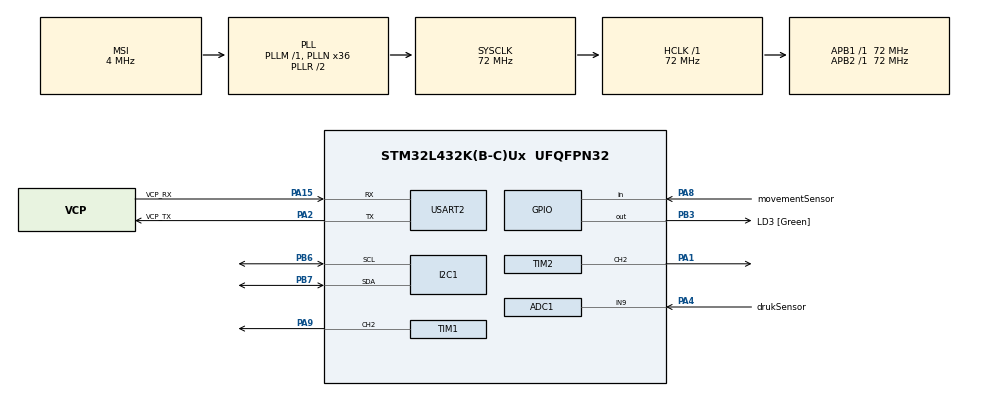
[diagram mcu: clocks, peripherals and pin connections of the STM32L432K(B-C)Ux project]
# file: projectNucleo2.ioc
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ADC1.Channel-0\#ChannelRegularConversion=ADC_CHANNEL_9
ADC1.NbrOfConversionFlag=1
ADC1.OffsetNumber-0\#ChannelRegularConversion=ADC_OFFSET_NONE
ADC1.Rank-0\#ChannelRegularConversion=1
ADC1.SamplingTime-0\#ChannelRegularConversion=ADC_SAMPLETIME_2CYCLES_5
ADC1.master=1
Dma.Request0=TIM1_CH2
Dma.TIM1_CH2.0.Direction=DMA_MEMORY_TO_PERIPH
Dma.TIM1_CH2.0.Instance=DMA1_Channel3
Dma.TIM1_CH2.0.MemDataAlignment=DMA_MDATAALIGN_HALFWORD
Dma.TIM1_CH2.0.MemInc=DMA_MINC_ENABLE
Dma.TIM1_CH2.0.Mode=DMA_NORMAL
Dma.TIM1_CH2.0.PeriphDataAlignment=DMA_PDATAALIGN_HALFWORD
Dma.TIM1_CH2.0.PeriphInc=DMA_PINC_DISABLE
Dma.TIM1_CH2.0.Priority=DMA_PRIORITY_LOW
I2C1.OwnAddress=0x20
I2C1.Timing=0x10808DD3
Mcu.Family=STM32L4
Mcu.Name=STM32L432K(B-C)Ux
Mcu.Package=UFQFPN32
NVIC.DMA1_Channel3_IRQn=true\:0\:0\:false\:false\:true\:false\:true\:true
NVIC.I2C1_EV_IRQn=true\:0\:0\:false\:false\:true\:true\:true\:true
NVIC.PriorityGroup=NVIC_PRIORITYGROUP_4
NVIC.TIM1_BRK_TIM15_IRQn=true\:0\:0\:false\:false\:true\:true\:true\:true
NVIC.TIM1_UP_TIM16_IRQn=true\:0\:0\:false\:false\:true\:true\:true\:true
NVIC.TIM2_IRQn=true\:0\:0\:false\:false\:true\:true\:true\:true
PA0.GPIO_Label=MCO [High speed clock in]
PA0.Mode=HSE-External-Clock-Source-for-LittleOrca
PA0.Signal=RCC_CK_IN
PA1.Signal=S_TIM2_CH2
PA13\ (JTMS-SWDIO).GPIO_Label=SWDIO
PA13\ (JTMS-SWDIO).Mode=Serial_Wire
PA13\ (JTMS-SWDIO).Signal=SYS_JTMS-SWDIO
PA14\ (JTCK-SWCLK).GPIO_Label=SWCLK
PA14\ (JTCK-SWCLK).Mode=Serial_Wire
PA14\ (JTCK-SWCLK).Signal=SYS_JTCK-SWCLK
PA15\ (JTDI).GPIO_Label=VCP_RX
PA15\ (JTDI).Mode=Asynchronous
PA15\ (JTDI).Signal=USART2_RX
PA2.GPIO_Label=VCP_TX
PA2.Mode=Asynchronous
PA2.Signal=USART2_TX
PA4.GPIO_Label=drukSensor
PA4.Signal=ADCx_IN9
PA8.GPIO_Label=movementSensor
PA8.Signal=GPIO_Input
PA9.Signal=S_TIM1_CH2
PB3\ (JTDO-TRACESWO).GPIO_Label=LD3 [Green]
PB3\ (JTDO-TRACESWO).Signal=GPIO_Output
PB6.Mode=I2C
PB6.Signal=I2C1_SCL
PB7.Mode=I2C
PB7.Signal=I2C1_SDA
PC14-OSC32_IN\ (PC14).Mode=LSE-External-Oscillator
PC14-OSC32_IN\ (PC14).Signal=RCC_OSC32_IN
PC15-OSC32_OUT\ (PC15).Mode=LSE-External-Oscillator
PC15-OSC32_OUT\ (PC15).Signal=RCC_OSC32_OUT
ProjectManager.HeapSize=0x200
ProjectManager.StackSize=0x400
ProjectManager.TargetToolchain=STM32CubeIDE
RCC.ADCFreq_Value=32000000
RCC.AHBFreq_Value=72000000
RCC.APB1Freq_Value=72000000
RCC.APB1TimFreq_Value=72000000
RCC.APB2Freq_Value=72000000
RCC.APB2TimFreq_Value=72000000
RCC.CortexFreq_Value=72000000
RCC.HCLKFreq_Value=72000000
RCC.HSE_VALUE=8000000
RCC.HSI16_VALUE=16000000
RCC.HSI48_VALUE=48000000
RCC.HSI_VALUE=16000000
RCC.MSI_VALUE=4000000
RCC.PLLMUL=RCC_PLLMUL_4
RCC.PLLN=36
RCC.PLLSAI1N=16
RCC.SYSCLKFreq_VALUE=72000000
RCC.SYSCLKSource=RCC_SYSCLKSOURCE_PLLCLK
RCC.USBFreq_Value=32000000
RCC.VCOOutputFreq_Value=144000000
SH.ADCx_IN9.0=ADC1_IN9,IN9-Single-Ended
SH.S_TIM1_CH2.0=TIM1_CH2,PWM Generation2 CH2
SH.S_TIM2_CH2.0=TIM2_CH2,Output Compare2 CH2
TIM1.AutoReloadPreload=TIM_AUTORELOAD_PRELOAD_ENABLE
TIM1.Channel-PWM\ Generation2\ CH2=TIM_CHANNEL_2
TIM1.Period=90-1
TIM15.Period=15000
TIM15.Prescaler=7200-1
TIM2.Channel-Output\ Compare2\ CH2=TIM_CHANNEL_2
TIM2.Period=150000
TIM2.Prescaler=7200
TIM2.Pulse-Output\ Compare2\ CH2=1000
USART2.VirtualMode-Asynchronous=VM_ASYNC
VP_TIM15_VS_ClockSourceINT.Mode=Internal
VP_TIM2_VS_ClockSourceINT.Mode=Internal
board=NUCLEO-L432KC

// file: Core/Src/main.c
/* USER CODE BEGIN Header */
/**
  ******************************************************************************
  * @file           : main.c
  * @brief          : Main program body
  ******************************************************************************
  * @attention
  *
  * Copyright (c) 2024 STMicroelectronics.
  * All rights reserved.
  *
  * This software is licensed under terms that can be found in the LICENSE file
  * in the root directory of this software component.
  * If no LICENSE file comes with this software, it is provided AS-IS.
  *
  ******************************************************************************
  */
/* USER CODE END Header */
#include "main.h"

/* USER CODE BEGIN Includes */
#include "string.h"
#include <stdio.h>
#include <math.h>
#include <time.h>
/* USER CODE END Includes */

/* USER CODE BEGIN PD */
#define TIM_HANDLE  htim1
#define TIM_CHANNEL TIM_CHANNEL_2
#define MAX_LED 10
#define USE_BRIGHTNESS 1
#define PI 3.14159265

#define R_DAY 255
#define G_DAY 200
#define B_DAY 200
#define R_NIGHT 200
#define G_NIGHT 130
#define B_NIGHT 50

#define BRTNS_MULT 3
#define MAX_BRTNS_DAY 25
#define MAX_BRTNS_NIGHT 10
/* USER CODE END PD */

ADC_HandleTypeDef hadc1;

I2C_HandleTypeDef hi2c1;

TIM_HandleTypeDef htim1;
TIM_HandleTypeDef htim2;
TIM_HandleTypeDef htim15;
DMA_HandleTypeDef hdma_tim1_ch2;

UART_HandleTypeDef huart2;

/* USER CODE BEGIN PV */
uint8_t LED_Data[MAX_LED][4];
uint8_t LED_Mod[MAX_LED][4];
uint16_t pwmData[(24*MAX_LED)+50];
int datasentflag = 0;
int brightness = 0;
int isOn = 0;
uint8_t received_command = 0;
uint8_t movementSensor = 0;
uint8_t movementBuf[2];
uint32_t drukSensor;
uint8_t drukSensorBuf[12];
uint8_t ledStatus = 0;
uint8_t nightMode = 0;
/* USER CODE END PV */

void SystemClock_Config(void);
static void MX_GPIO_Init(void);
static void MX_DMA_Init(void);
static void MX_USART2_UART_Init(void);
static void MX_I2C1_Init(void);
static void MX_ADC1_Init(void);
static void MX_TIM1_Init(void);
static void MX_TIM2_Init(void);
static void MX_TIM15_Init(void);

/* USER CODE BEGIN 0 */
void Set_LED (int LEDnum, int Red, int Green, int Blue);
void Set_Brightness (int brightness);
void WS2812_Send ();
/* USER CODE END 0 */

int main(void)
{
  /* USER CODE BEGIN 1 */
  SysTick_Config(SystemCoreClock / 1000);
  /* USER CODE END 1 */

  /* MCU Configuration--------------------------------------------------------*/

  /* Reset of all peripherals, Initializes the Flash interface and the Systick. */
  HAL_Init();

  /* Configure the system clock */
  SystemClock_Config();

  /* Initialize all configured peripherals */
  MX_GPIO_Init();
  MX_DMA_Init();
  MX_USART2_UART_Init();
  MX_I2C1_Init();
  MX_ADC1_Init();
  MX_TIM1_Init();
  MX_TIM2_Init();
  MX_TIM15_Init();
  /* USER CODE BEGIN 2 */

  HAL_UART_Transmit(&huart2, (uint8_t *)" - Nucleo 2 online - \n\r", 23, HAL_MAX_DELAY);
  HAL_I2C_Slave_Receive_IT(&hi2c1, &received_command, 1);
  /* USER CODE END 2 */

  /* Infinite loop */
  /* USER CODE BEGIN WHILE */
  while (1)
  {
	HAL_I2C_Slave_Receive_IT(&hi2c1, &received_command, 1);

	/*
	 * Read movement sensor pin and store result in corresponding buffer
	 */
	movementSensor = HAL_GPIO_ReadPin(movementSensor_GPIO_Port, movementSensor_Pin);
	sprintf((char*) movementBuf, "%u", movementSensor);

	/*
	 * Read AD converter connected to the pressure sensor and store result in corresponding buffer
	 */
	HAL_ADC_Start(&hadc1);
	if (HAL_ADC_PollForConversion(&hadc1, HAL_MAX_DELAY) == HAL_OK) {
		HAL_ADC_Stop(&hadc1);
		drukSensor = HAL_ADC_GetValue(&hadc1);
	}
	sprintf((char*) drukSensorBuf, "%d", (int) drukSensor);

	/*
	 * If LEDs should be on, increment brightness every loop until desired brightness is reached
	 * If LEDs should be off, decrement brightness every loop until LEDs are off
	 * Nightmode determines the max brightness + the color of the LEDstrip
	 */
	if (isOn == 1) {
		if (nightMode == 1  && brightness < MAX_BRTNS_NIGHT * BRTNS_MULT) {
			brightness++;
			for (int i = 0; i < 10; i++) {
				Set_LED(i, R_NIGHT, G_NIGHT, B_NIGHT);
			}
			Set_Brightness(brightness / BRTNS_MULT);
			WS2812_Send();
		} else if (brightness < MAX_BRTNS_DAY * BRTNS_MULT) {
			brightness++;
			for (int i = 0; i < 10; i++) {
				Set_LED(i, R_DAY, G_DAY, B_DAY);
			}
			Set_Brightness(brightness / BRTNS_MULT);
			WS2812_Send();
		}

	} else if (isOn == 0 && brightness > 0) {
		brightness--;
		Set_Brightness(brightness / BRTNS_MULT);
		WS2812_Send();
	}

	HAL_Delay(10);
    /* USER CODE END WHILE */

  }
}

void SystemClock_Config(void)
{
  RCC_OscInitTypeDef RCC_OscInitStruct = {0};
  RCC_ClkInitTypeDef RCC_ClkInitStruct = {0};

  /** Configure the main internal regulator output voltage
  */
  if (HAL_PWREx_ControlVoltageScaling(PWR_REGULATOR_VOLTAGE_SCALE1) != HAL_OK)
  {
    Error_Handler();
  }

  /** Configure LSE Drive Capability
  */
  HAL_PWR_EnableBkUpAccess();
  __HAL_RCC_LSEDRIVE_CONFIG(RCC_LSEDRIVE_LOW);

  /** Initializes the RCC Oscillators according to the specified parameters
  * in the RCC_OscInitTypeDef structure.
  */
  RCC_OscInitStruct.OscillatorType = RCC_OSCILLATORTYPE_LSE|RCC_OSCILLATORTYPE_MSI;
  RCC_OscInitStruct.LSEState = RCC_LSE_ON;
  RCC_OscInitStruct.MSIState = RCC_MSI_ON;
  RCC_OscInitStruct.MSICalibrationValue = 0;
  RCC_OscInitStruct.MSIClockRange = RCC_MSIRANGE_6;
  RCC_OscInitStruct.PLL.PLLState = RCC_PLL_ON;
  RCC_OscInitStruct.PLL.PLLSource = RCC_PLLSOURCE_MSI;
  RCC_OscInitStruct.PLL.PLLM = 1;
  RCC_OscInitStruct.PLL.PLLN = 36;
  RCC_OscInitStruct.PLL.PLLP = RCC_PLLP_DIV7;
  RCC_OscInitStruct.PLL.PLLQ = RCC_PLLQ_DIV2;
  RCC_OscInitStruct.PLL.PLLR = RCC_PLLR_DIV2;
  if (HAL_RCC_OscConfig(&RCC_OscInitStruct) != HAL_OK)
  {
    Error_Handler();
  }

  /** Initializes the CPU, AHB and APB buses clocks
  */
  RCC_ClkInitStruct.ClockType = RCC_CLOCKTYPE_HCLK|RCC_CLOCKTYPE_SYSCLK
                              |RCC_CLOCKTYPE_PCLK1|RCC_CLOCKTYPE_PCLK2;
  RCC_ClkInitStruct.SYSCLKSource = RCC_SYSCLKSOURCE_PLLCLK;
  RCC_ClkInitStruct.AHBCLKDivider = RCC_SYSCLK_DIV1;
  RCC_ClkInitStruct.APB1CLKDivider = RCC_HCLK_DIV1;
  RCC_ClkInitStruct.APB2CLKDivider = RCC_HCLK_DIV1;

  if (HAL_RCC_ClockConfig(&RCC_ClkInitStruct, FLASH_LATENCY_4) != HAL_OK)
  {
    Error_Handler();
  }

  /** Enable MSI Auto calibration
  */
  HAL_RCCEx_EnableMSIPLLMode();
}

static void MX_ADC1_Init(void)
{

  ADC_ChannelConfTypeDef sConfig = {0};

  /** Common config
  */
  hadc1.Instance = ADC1;
  hadc1.Init.ClockPrescaler = ADC_CLOCK_ASYNC_DIV1;
  hadc1.Init.Resolution = ADC_RESOLUTION_12B;
  hadc1.Init.DataAlign = ADC_DATAALIGN_RIGHT;
  hadc1.Init.ScanConvMode = ADC_SCAN_DISABLE;
  hadc1.Init.EOCSelection = ADC_EOC_SINGLE_CONV;
  hadc1.Init.LowPowerAutoWait = DISABLE;
  hadc1.Init.ContinuousConvMode = DISABLE;
  hadc1.Init.NbrOfConversion = 1;
  hadc1.Init.DiscontinuousConvMode = DISABLE;
  hadc1.Init.ExternalTrigConv = ADC_SOFTWARE_START;
  hadc1.Init.ExternalTrigConvEdge = ADC_EXTERNALTRIGCONVEDGE_NONE;
  hadc1.Init.DMAContinuousRequests = DISABLE;
  hadc1.Init.Overrun = ADC_OVR_DATA_PRESERVED;
  hadc1.Init.OversamplingMode = DISABLE;
  if (HAL_ADC_Init(&hadc1) != HAL_OK)
  {
    Error_Handler();
  }

  /** Configure Regular Channel
  */
  sConfig.Channel = ADC_CHANNEL_9;
  sConfig.Rank = ADC_REGULAR_RANK_1;
  sConfig.SamplingTime = ADC_SAMPLETIME_2CYCLES_5;
  sConfig.SingleDiff = ADC_SINGLE_ENDED;
  sConfig.OffsetNumber = ADC_OFFSET_NONE;
  sConfig.Offset = 0;
  if (HAL_ADC_ConfigChannel(&hadc1, &sConfig) != HAL_OK)
  {
    Error_Handler();
  }

}

static void MX_I2C1_Init(void)
{

  hi2c1.Instance = I2C1;
  hi2c1.Init.Timing = 0x10808DD3;
  hi2c1.Init.OwnAddress1 = 64;
  hi2c1.Init.AddressingMode = I2C_ADDRESSINGMODE_7BIT;
  hi2c1.Init.DualAddressMode = I2C_DUALADDRESS_DISABLE;
  hi2c1.Init.OwnAddress2 = 0;
  hi2c1.Init.OwnAddress2Masks = I2C_OA2_NOMASK;
  hi2c1.Init.GeneralCallMode = I2C_GENERALCALL_DISABLE;
  hi2c1.Init.NoStretchMode = I2C_NOSTRETCH_DISABLE;
  if (HAL_I2C_Init(&hi2c1) != HAL_OK)
  {
    Error_Handler();
  }

  /** Configure Analogue filter
  */
  if (HAL_I2CEx_ConfigAnalogFilter(&hi2c1, I2C_ANALOGFILTER_ENABLE) != HAL_OK)
  {
    Error_Handler();
  }

  /** Configure Digital filter
  */
  if (HAL_I2CEx_ConfigDigitalFilter(&hi2c1, 0) != HAL_OK)
  {
    Error_Handler();
  }

}

static void MX_TIM1_Init(void)
{

  TIM_MasterConfigTypeDef sMasterConfig = {0};
  TIM_OC_InitTypeDef sConfigOC = {0};
  TIM_BreakDeadTimeConfigTypeDef sBreakDeadTimeConfig = {0};

  htim1.Instance = TIM1;
  htim1.Init.Prescaler = 0;
  htim1.Init.CounterMode = TIM_COUNTERMODE_UP;
  htim1.Init.Period = 90-1;
  htim1.Init.ClockDivision = TIM_CLOCKDIVISION_DIV1;
  htim1.Init.RepetitionCounter = 0;
  htim1.Init.AutoReloadPreload = TIM_AUTORELOAD_PRELOAD_ENABLE;
  if (HAL_TIM_PWM_Init(&htim1) != HAL_OK)
  {
    Error_Handler();
  }
  sMasterConfig.MasterOutputTrigger = TIM_TRGO_RESET;
  sMasterConfig.MasterOutputTrigger2 = TIM_TRGO2_RESET;
  sMasterConfig.MasterSlaveMode = TIM_MASTERSLAVEMODE_DISABLE;
  if (HAL_TIMEx_MasterConfigSynchronization(&htim1, &sMasterConfig) != HAL_OK)
  {
    Error_Handler();
  }
  sConfigOC.OCMode = TIM_OCMODE_PWM1;
  sConfigOC.Pulse = 0;
  sConfigOC.OCPolarity = TIM_OCPOLARITY_HIGH;
  sConfigOC.OCNPolarity = TIM_OCNPOLARITY_HIGH;
  sConfigOC.OCFastMode = TIM_OCFAST_DISABLE;
  sConfigOC.OCIdleState = TIM_OCIDLESTATE_RESET;
  sConfigOC.OCNIdleState = TIM_OCNIDLESTATE_RESET;
  if (HAL_TIM_PWM_ConfigChannel(&htim1, &sConfigOC, TIM_CHANNEL_2) != HAL_OK)
  {
    Error_Handler();
  }
  sBreakDeadTimeConfig.OffStateRunMode = TIM_OSSR_DISABLE;
  sBreakDeadTimeConfig.OffStateIDLEMode = TIM_OSSI_DISABLE;
  sBreakDeadTimeConfig.LockLevel = TIM_LOCKLEVEL_OFF;
  sBreakDeadTimeConfig.DeadTime = 0;
  sBreakDeadTimeConfig.BreakState = TIM_BREAK_DISABLE;
  sBreakDeadTimeConfig.BreakPolarity = TIM_BREAKPOLARITY_HIGH;
  sBreakDeadTimeConfig.BreakFilter = 0;
  sBreakDeadTimeConfig.Break2State = TIM_BREAK2_DISABLE;
  sBreakDeadTimeConfig.Break2Polarity = TIM_BREAK2POLARITY_HIGH;
  sBreakDeadTimeConfig.Break2Filter = 0;
  sBreakDeadTimeConfig.AutomaticOutput = TIM_AUTOMATICOUTPUT_DISABLE;
  if (HAL_TIMEx_ConfigBreakDeadTime(&htim1, &sBreakDeadTimeConfig) != HAL_OK)
  {
    Error_Handler();
  }
  HAL_TIM_MspPostInit(&htim1);

}

static void MX_TIM2_Init(void)
{

  TIM_ClockConfigTypeDef sClockSourceConfig = {0};
  TIM_MasterConfigTypeDef sMasterConfig = {0};
  TIM_OC_InitTypeDef sConfigOC = {0};

  htim2.Instance = TIM2;
  htim2.Init.Prescaler = 7200;
  htim2.Init.CounterMode = TIM_COUNTERMODE_UP;
  htim2.Init.Period = 150000;
  htim2.Init.ClockDivision = TIM_CLOCKDIVISION_DIV1;
  htim2.Init.AutoReloadPreload = TIM_AUTORELOAD_PRELOAD_DISABLE;
  if (HAL_TIM_Base_Init(&htim2) != HAL_OK)
  {
    Error_Handler();
  }
  sClockSourceConfig.ClockSource = TIM_CLOCKSOURCE_INTERNAL;
  if (HAL_TIM_ConfigClockSource(&htim2, &sClockSourceConfig) != HAL_OK)
  {
    Error_Handler();
  }
  if (HAL_TIM_OC_Init(&htim2) != HAL_OK)
  {
    Error_Handler();
  }
  sMasterConfig.MasterOutputTrigger = TIM_TRGO_RESET;
  sMasterConfig.MasterSlaveMode = TIM_MASTERSLAVEMODE_DISABLE;
  if (HAL_TIMEx_MasterConfigSynchronization(&htim2, &sMasterConfig) != HAL_OK)
  {
    Error_Handler();
  }
  sConfigOC.OCMode = TIM_OCMODE_TIMING;
  sConfigOC.Pulse = 1000;
  sConfigOC.OCPolarity = TIM_OCPOLARITY_HIGH;
  sConfigOC.OCFastMode = TIM_OCFAST_DISABLE;
  if (HAL_TIM_OC_ConfigChannel(&htim2, &sConfigOC, TIM_CHANNEL_2) != HAL_OK)
  {
    Error_Handler();
  }
  HAL_TIM_MspPostInit(&htim2);

}

static void MX_TIM15_Init(void)
{

  TIM_ClockConfigTypeDef sClockSourceConfig = {0};
  TIM_MasterConfigTypeDef sMasterConfig = {0};

  htim15.Instance = TIM15;
  htim15.Init.Prescaler = 7200-1;
  htim15.Init.CounterMode = TIM_COUNTERMODE_UP;
  htim15.Init.Period = 15000;
  htim15.Init.ClockDivision = TIM_CLOCKDIVISION_DIV1;
  htim15.Init.RepetitionCounter = 0;
  htim15.Init.AutoReloadPreload = TIM_AUTORELOAD_PRELOAD_DISABLE;
  if (HAL_TIM_Base_Init(&htim15) != HAL_OK)
  {
    Error_Handler();
  }
  sClockSourceConfig.ClockSource = TIM_CLOCKSOURCE_INTERNAL;
  if (HAL_TIM_ConfigClockSource(&htim15, &sClockSourceConfig) != HAL_OK)
  {
    Error_Handler();
  }
  sMasterConfig.MasterOutputTrigger = TIM_TRGO_RESET;
  sMasterConfig.MasterSlaveMode = TIM_MASTERSLAVEMODE_DISABLE;
  if (HAL_TIMEx_MasterConfigSynchronization(&htim15, &sMasterConfig) != HAL_OK)
  {
    Error_Handler();
  }

}

static void MX_USART2_UART_Init(void)
{

  huart2.Instance = USART2;
  huart2.Init.BaudRate = 115200;
  huart2.Init.WordLength = UART_WORDLENGTH_8B;
  huart2.Init.StopBits = UART_STOPBITS_1;
  huart2.Init.Parity = UART_PARITY_NONE;
  huart2.Init.Mode = UART_MODE_TX_RX;
  huart2.Init.HwFlowCtl = UART_HWCONTROL_NONE;
  huart2.Init.OverSampling = UART_OVERSAMPLING_16;
  huart2.Init.OneBitSampling = UART_ONE_BIT_SAMPLE_DISABLE;
  huart2.AdvancedInit.AdvFeatureInit = UART_ADVFEATURE_NO_INIT;
  if (HAL_UART_Init(&huart2) != HAL_OK)
  {
    Error_Handler();
  }

}

static void MX_DMA_Init(void)
{

  /* DMA controller clock enable */
  __HAL_RCC_DMA1_CLK_ENABLE();

  /* DMA interrupt init */
  /* DMA1_Channel3_IRQn interrupt configuration */
  HAL_NVIC_SetPriority(DMA1_Channel3_IRQn, 0, 0);
  HAL_NVIC_EnableIRQ(DMA1_Channel3_IRQn);

}

static void MX_GPIO_Init(void)
{
  GPIO_InitTypeDef GPIO_InitStruct = {0};

  /* GPIO Ports Clock Enable */
  __HAL_RCC_GPIOC_CLK_ENABLE();
  __HAL_RCC_GPIOA_CLK_ENABLE();
  __HAL_RCC_GPIOB_CLK_ENABLE();

  /*Configure GPIO pin Output Level */
  HAL_GPIO_WritePin(LD3_GPIO_Port, LD3_Pin, GPIO_PIN_RESET);

  /*Configure GPIO pin : movementSensor_Pin */
  GPIO_InitStruct.Pin = movementSensor_Pin;
  GPIO_InitStruct.Mode = GPIO_MODE_INPUT;
  GPIO_InitStruct.Pull = GPIO_NOPULL;
  HAL_GPIO_Init(movementSensor_GPIO_Port, &GPIO_InitStruct);

  /*Configure GPIO pin : LD3_Pin */
  GPIO_InitStruct.Pin = LD3_Pin;
  GPIO_InitStruct.Mode = GPIO_MODE_OUTPUT_PP;
  GPIO_InitStruct.Pull = GPIO_NOPULL;
  GPIO_InitStruct.Speed = GPIO_SPEED_FREQ_LOW;
  HAL_GPIO_Init(LD3_GPIO_Port, &GPIO_InitStruct);

}

/* USER CODE BEGIN 4 */
/*
 * Receive a command flag from the server Pi, and react accordingly
 * 0x10 - Request movement sensor data
 * 0x11 - Request pressure sensor data
 * 0x12 - Turn LEDs ON in DAY mode
 * 0x13 - Turn LEDs ON in NIGHT mode
 * 0x14 - Turn LEDs OFF
 * DEFAULT - Unknown command, return "Huh?"
 */
void HAL_I2C_SlaveRxCpltCallback(I2C_HandleTypeDef *hi2c) {
	if (received_command == 0x10) {
		HAL_UART_Transmit(&huart2, (uint8_t*) "Received MOV flag, returning movementSensor status: ", 52, HAL_MAX_DELAY);
		HAL_UART_Transmit(&huart2, movementBuf, strlen((char*)movementBuf), HAL_MAX_DELAY);
		HAL_UART_Transmit(&huart2, (uint8_t*) "\n\r", 2, HAL_MAX_DELAY);
		if (HAL_I2C_Slave_Transmit_IT(&hi2c1, movementBuf, strlen((char*)movementBuf)) != HAL_OK) {
		   	HAL_UART_Transmit(&huart2, (uint8_t*) "Didn't work!\n\r", 40, HAL_MAX_DELAY);
		}
		HAL_I2C_Slave_Receive_IT(&hi2c1, &received_command, 1);
	} else if (received_command == 0x11) {
		HAL_UART_Transmit(&huart2, (uint8_t*) "Received PRS flag, returning pressureSensor status: ", 52, HAL_MAX_DELAY);
		HAL_UART_Transmit(&huart2, drukSensorBuf, strlen((char*)drukSensorBuf), HAL_MAX_DELAY);
		HAL_UART_Transmit(&huart2, (uint8_t*) "\n\r", 2, HAL_MAX_DELAY);
		if (HAL_I2C_Slave_Transmit_IT(&hi2c1, drukSensorBuf, strlen((char*)drukSensorBuf)) != HAL_OK) {
		   	HAL_UART_Transmit(&huart2, (uint8_t*) "Didn't work!\n\r", 40, HAL_MAX_DELAY);
		}
		HAL_I2C_Slave_Receive_IT(&hi2c1, &received_command, 1);
	} else if (received_command == 0x12) {
		HAL_UART_Transmit(&huart2, (uint8_t*) "Received LEDSON_DAY flag, turning LEDstrip on\n\r", 47, HAL_MAX_DELAY);
		isOn = 1;
		HAL_TIM_Base_Start_IT(&htim2);
		TIM2->CNT = 0;
		HAL_I2C_Slave_Receive_IT(&hi2c1, &received_command, 1);
	} else if (received_command == 0x13) {
		HAL_UART_Transmit(&huart2, (uint8_t*) "Received LEDSON_NIGHT flag, turning LEDstrip on\n\r", 49, HAL_MAX_DELAY);
		isOn = 1;
		nightMode = 1;
		HAL_TIM_Base_Start_IT(&htim2);
		TIM2->CNT = 0;
		HAL_I2C_Slave_Receive_IT(&hi2c1, &received_command, 1);
	} else if (received_command == 0x14) {
		HAL_UART_Transmit(&huart2, (uint8_t*) "Received LEDSOFF flag, turning LEDstrip off\n\r", 45, HAL_MAX_DELAY);
		isOn = 0;
		HAL_I2C_Slave_Receive_IT(&hi2c1, &received_command, 1);
	} else {
		HAL_UART_Transmit(&huart2, (uint8_t*) "Huh?\n", 5, HAL_MAX_DELAY);
	}
}

void Set_LED (int LEDnum, int Red, int Green, int Blue)
{
	LED_Data[LEDnum][0] = LEDnum;
	LED_Data[LEDnum][1] = Green;
	LED_Data[LEDnum][2] = Red;
	LED_Data[LEDnum][3] = Blue;
}

void Set_Brightness (int brightness) { // 0-45
	if (USE_BRIGHTNESS) {
		if (brightness > 45) brightness = 45;
		for (int i=0; i<MAX_LED; i++) {
			LED_Mod[i][0] = LED_Data[i][0];
			for (int j=1; j<4; j++)	{
				float angle = 90-brightness;  // in degrees
				angle = angle*PI / 180;  // in rad
				LED_Mod[i][j] = (LED_Data[i][j])/(tan(angle));
			}
		}
	}
}

void WS2812_Send () {
	uint32_t indx=0;
	uint32_t color;

	for (int i= 0; i<MAX_LED; i++) {
		if (USE_BRIGHTNESS) {
			color = ((LED_Mod[i][1]<<16) | (LED_Mod[i][2]<<8) | (LED_Mod[i][3]));
		} else {
			color = ((LED_Data[i][1]<<16) | (LED_Data[i][2]<<8) | (LED_Data[i][3]));
		}

		for (int i=23; i>=0; i--) {
			if (color&(1<<i)) {
				pwmData[indx] = 60;  // 2/3 of 90
			} else {
				pwmData[indx] = 30;  // 1/3 of 90
			}

			indx++;
		}
	}

	for (int i=0; i<50; i++) {
		pwmData[indx] = 0;
		indx++;
	}

	HAL_TIM_PWM_Start_DMA(&TIM_HANDLE, TIM_CHANNEL, (uint32_t *)pwmData, sizeof(pwmData) / sizeof(uint16_t));
	//while (!datasentflag){};
	datasentflag = 0;
}

void HAL_TIM_PWM_PulseFinishedCallback(TIM_HandleTypeDef *htim)
{
	HAL_TIM_PWM_Stop_DMA(&TIM_HANDLE, TIM_CHANNEL);
	datasentflag=1;
}

/*
 * This callback occurs after 15 seconds of no movement, and turns the LEDstrip off
 */
void HAL_TIM_PeriodElapsedCallback(TIM_HandleTypeDef *htim) {
	if (htim->Instance == TIM2) {
		isOn = 0;
	}
}
/* USER CODE END 4 */

void Error_Handler(void)
{
  __disable_irq();
  while (1)
  {
  }
}
